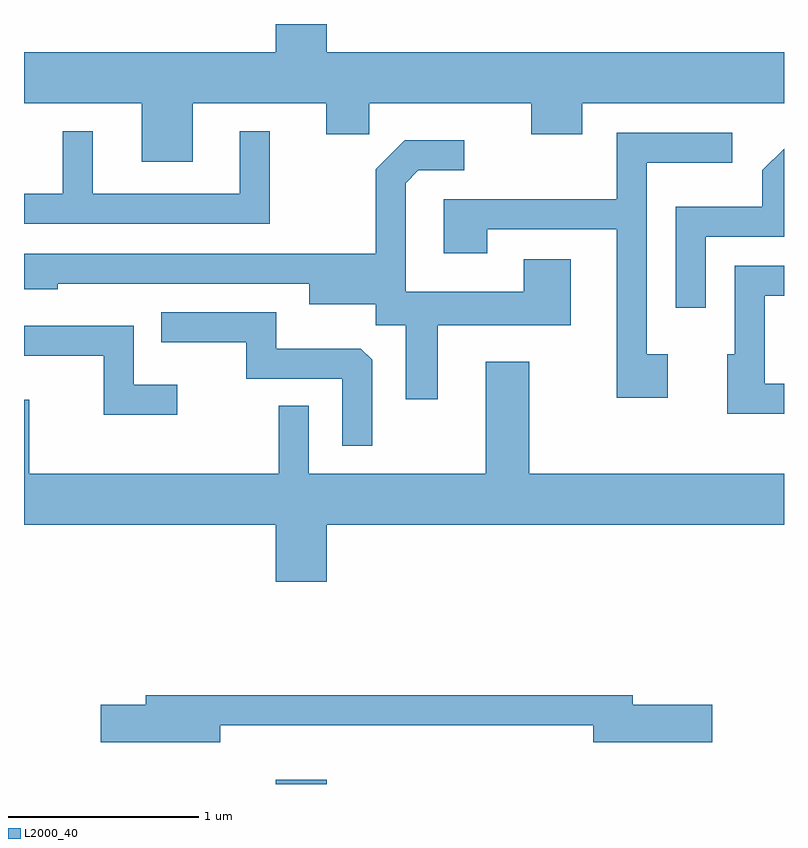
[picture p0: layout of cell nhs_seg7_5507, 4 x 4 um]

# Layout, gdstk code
import gdstk
lib = gdstk.Library(unit=1e-6, precision=1e-09)
def R(c, l, rs):  # rectangles x0, y0, x1, y1
    for r in rs: c.add(gdstk.rectangle(r[:2], r[2:], *l))
def P(c, l, *ps):  # polygons
    for p in ps: c.add(gdstk.Polygon(p, *l))
L2000_40 = (2000, 40)

nhs_seg7_5507 = lib.new_cell('nhs_seg7_5507')
R(nhs_seg7_5507, L2000_40, [(354.936,1746.252,355.204,1746.274)])
P(nhs_seg7_5507, L2000_40, [(354.499,1749.836),(355.201,1749.836),(355.201,1749.671),(355.429,1749.671),(355.429,1749.836),(356.281,1749.836),(356.281,1749.671),(356.549,1749.671),(356.549,1749.836),(357.611,1749.836),(357.611,1750.104),(355.204,1750.104),(355.204,1750.252),(354.936,1750.252),(354.936,1750.104),(353.611,1750.104),(353.611,1749.836),(354.231,1749.836),(354.231,1749.526),(354.499,1749.526)],
  [(354.904,1749.688),(354.746,1749.688),(354.746,1749.359),(353.974,1749.359),(353.974,1749.688),(353.816,1749.688),(353.816,1749.359),(353.611,1749.359),(353.611,1749.201),(354.904,1749.201)],
  [(356.999,1748.514),(356.889,1748.514),(356.889,1749.521),(357.338,1749.521),(357.338,1749.679),(356.731,1749.679),(356.731,1749.329),(355.821,1749.329),(355.821,1749.046),(356.049,1749.046),(356.049,1749.171),(356.731,1749.171),(356.731,1748.286),(356.999,1748.286)],
  [(355.789,1748.666),(356.489,1748.666),(356.489,1749.014),(356.241,1749.014),(356.241,1748.844),(355.619,1748.844),(355.619,1749.414),(355.687,1749.481),(355.928,1749.481),(355.928,1749.639),(355.614,1749.639),(355.461,1749.487),(355.461,1749.044),(353.611,1749.044),(353.611,1748.856),(353.789,1748.856),(353.789,1748.886),(355.111,1748.886),(355.111,1748.776),(355.461,1748.776),(355.461,1748.666),(355.621,1748.666),(355.621,1748.278),(355.789,1748.278)],
  [(357.199,1749.131),(357.611,1749.131),(357.611,1749.596),(357.496,1749.482),(357.496,1749.289),(357.041,1749.289),(357.041,1748.758),(357.199,1748.758)],
  [(357.611,1748.359),(357.509,1748.359),(357.509,1748.821),(357.611,1748.821),(357.611,1748.979),(357.351,1748.979),(357.351,1748.514),(357.311,1748.514),(357.311,1748.201),(357.611,1748.201)],
  [(355.444,1748.484),(355.384,1748.544),(354.939,1748.544),(354.939,1748.734),(354.333,1748.734),(354.333,1748.576),(354.781,1748.576),(354.781,1748.386),(355.286,1748.386),(355.286,1748.033),(355.444,1748.033)],
  [(354.418,1748.354),(354.189,1748.354),(354.189,1748.664),(353.611,1748.664),(353.611,1748.506),(354.031,1748.506),(354.031,1748.196),(354.418,1748.196)],
  [(355.204,1747.616),(357.611,1747.616),(357.611,1747.884),(356.269,1747.884),(356.269,1748.474),(356.041,1748.474),(356.041,1747.884),(355.109,1747.884),(355.109,1748.243),(354.951,1748.243),(354.951,1747.884),(353.639,1747.884),(353.639,1748.274),(353.611,1748.274),(353.611,1747.616),(354.936,1747.616),(354.936,1747.316),(355.204,1747.316)],
  [(354.644,1746.561),(356.606,1746.561),(356.606,1746.471),(357.234,1746.471),(357.234,1746.669),(356.814,1746.669),(356.814,1746.719),(354.251,1746.719),(354.251,1746.669),(354.016,1746.669),(354.016,1746.471),(354.644,1746.471)])

lib.write_gds('nhs_seg7_5507.gds')
